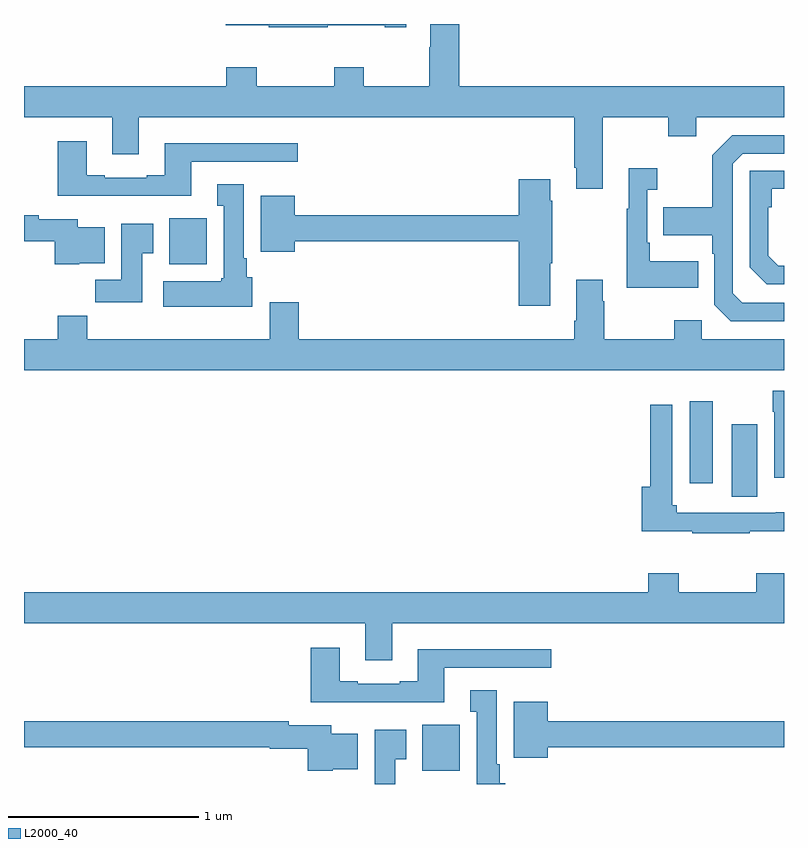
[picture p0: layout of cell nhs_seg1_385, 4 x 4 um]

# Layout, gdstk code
import gdstk
lib = gdstk.Library(unit=1e-6, precision=1e-09)
def R(c, l, rs):  # rectangles x0, y0, x1, y1
    for r in rs: c.add(gdstk.rectangle(r[:2], r[2:], *l))
def P(c, l, *ps):  # polygons
    for p in ps: c.add(gdstk.Polygon(p, *l))
L2000_40 = (2000, 40)

nhs_seg1_385 = lib.new_cell('nhs_seg1_385')
R(nhs_seg1_385, L2000_40, [(133.097,572.27,133.294,572.512), (134.726,573.712,134.86,574.093), (134.504,573.783,134.626,574.213), (131.765,574.934,131.962,575.176)])
P(nhs_seg1_385, L2000_40, [(132.599,576.193),(132.899,576.193),(132.899,576.183),(133.012,576.183),(133.012,576.199),(132.062,576.199),(132.062,576.193),(132.289,576.193),(132.289,576.183),(132.599,576.183)],
  [(134.047,575.708),(134.392,575.708),(134.392,575.609),(134.539,575.609),(134.539,575.708),(135,575.708),(135,575.872),(133.292,575.872),(133.292,576.199),(133.139,576.199),(133.139,576.077),(133.132,576.077),(133.132,575.872),(132.789,575.872),(132.789,575.971),(132.634,575.971),(132.634,575.872),(132.225,575.872),(132.225,575.971),(132.065,575.971),(132.065,575.872),(131,575.872),(131,575.708),(131.465,575.708),(131.465,575.514),(131.605,575.514),(131.605,575.708),(133.895,575.708),(133.895,575.443),(133.907,575.443),(133.907,575.331),(134.047,575.331)],
  [(135,574.731),(134.781,574.731),(134.73,574.782),(134.73,575.463),(134.784,575.517),(135,575.517),(135,575.613),(134.727,575.613),(134.622,575.507),(134.622,575.235),(134.365,575.235),(134.365,575.087),(134.622,575.087),(134.622,574.991),(134.634,574.991),(134.634,574.722),(134.721,574.635),(135,574.635)],
  [(131.881,575.475),(132.442,575.475),(132.442,575.572),(131.741,575.572),(131.741,575.404),(131.645,575.404),(131.645,575.391),(131.425,575.391),(131.425,575.404),(131.329,575.404),(131.329,575.581),(131.177,575.581),(131.177,575.294),(131.881,575.294)],
  [(134.549,574.951),(134.293,574.951),(134.293,575.047),(134.28,575.047),(134.28,575.327),(134.332,575.327),(134.332,575.44),(134.183,575.44),(134.183,575.227),(134.172,575.227),(134.172,574.811),(134.549,574.811)],
  [(135,574.927),(134.969,574.927),(134.916,574.98),(134.916,575.234),(134.936,575.234),(134.936,575.331),(135,575.331),(135,575.427),(134.82,575.427),(134.82,574.92),(134.91,574.83),(135,574.83)],
  [(133.771,574.939),(133.779,574.939),(133.779,575.27),(133.771,575.27),(133.771,575.383),(133.604,575.383),(133.604,575.192),(132.424,575.192),(132.424,575.296),(132.245,575.296),(132.245,575),(132.424,575),(132.424,575.056),(133.604,575.056),(133.604,574.716),(133.771,574.716)],
  [(132.202,574.866),(132.172,574.866),(132.172,574.966),(132.157,574.966),(132.157,575.356),(132.017,575.356),(132.017,575.243),(132.05,575.243),(132.05,574.86),(132.037,574.86),(132.037,574.846),(131.733,574.846),(131.733,574.712),(132.202,574.712)],
  [(131.292,574.94),(131.425,574.94),(131.425,575.128),(131.284,575.128),(131.284,575.172),(131.078,575.172),(131.078,575.192),(131,575.192),(131,575.056),(131.162,575.056),(131.162,574.934),(131.292,574.934)],
  [(131.623,574.993),(131.68,574.993),(131.68,575.149),(131.513,575.149),(131.513,574.852),(131.374,574.852),(131.374,574.734),(131.623,574.734)],
  [(135,574.54),(134.568,574.54),(134.568,574.639),(134.422,574.639),(134.422,574.54),(134.055,574.54),(134.055,574.739),(134.047,574.739),(134.047,574.852),(133.907,574.852),(133.907,574.636),(133.895,574.636),(133.895,574.54),(132.446,574.54),(132.446,574.735),(132.293,574.735),(132.293,574.54),(131.333,574.54),(131.333,574.664),(131.177,574.664),(131.177,574.54),(131,574.54),(131,574.376),(135,574.376)],
  [(135,574.27),(134.941,574.27),(134.941,574.157),(134.948,574.157),(134.948,573.81),(135,573.81)],
  [(134.819,573.529),(135,573.529),(135,573.629),(134.956,573.629),(134.956,573.627),(134.435,573.627),(134.435,573.666),(134.412,573.666),(134.412,574.195),(134.296,574.195),(134.296,573.763),(134.252,573.763),(134.252,573.529),(134.518,573.529),(134.518,573.519),(134.819,573.519)],
  [(132.937,573.044),(135,573.044),(135,573.307),(134.854,573.307),(134.854,573.208),(134.445,573.208),(134.445,573.307),(134.285,573.307),(134.285,573.208),(131,573.208),(131,573.044),(132.797,573.044),(132.797,572.85),(132.937,572.85)],
  [(133.213,572.811),(133.774,572.811),(133.774,572.908),(133.073,572.908),(133.073,572.74),(132.977,572.74),(132.977,572.727),(132.757,572.727),(132.757,572.74),(132.661,572.74),(132.661,572.917),(132.509,572.917),(132.509,572.63),(133.213,572.63)],
  [(133.534,572.202),(133.504,572.202),(133.504,572.302),(133.489,572.302),(133.489,572.692),(133.349,572.692),(133.349,572.579),(133.382,572.579),(133.382,572.199),(133.534,572.199)],
  [(133.756,572.392),(135,572.392),(135,572.528),(133.756,572.528),(133.756,572.632),(133.577,572.632),(133.577,572.336),(133.756,572.336)],
  [(132.624,572.276),(132.757,572.276),(132.757,572.464),(132.616,572.464),(132.616,572.509),(132.394,572.509),(132.394,572.528),(131,572.528),(131,572.392),(132.294,572.392),(132.294,572.384),(132.494,572.384),(132.494,572.27),(132.624,572.27)],
  [(132.955,572.329),(133.012,572.329),(133.012,572.485),(132.845,572.485),(132.845,572.199),(132.955,572.199)])

lib.write_gds('nhs_seg1_385.gds')
